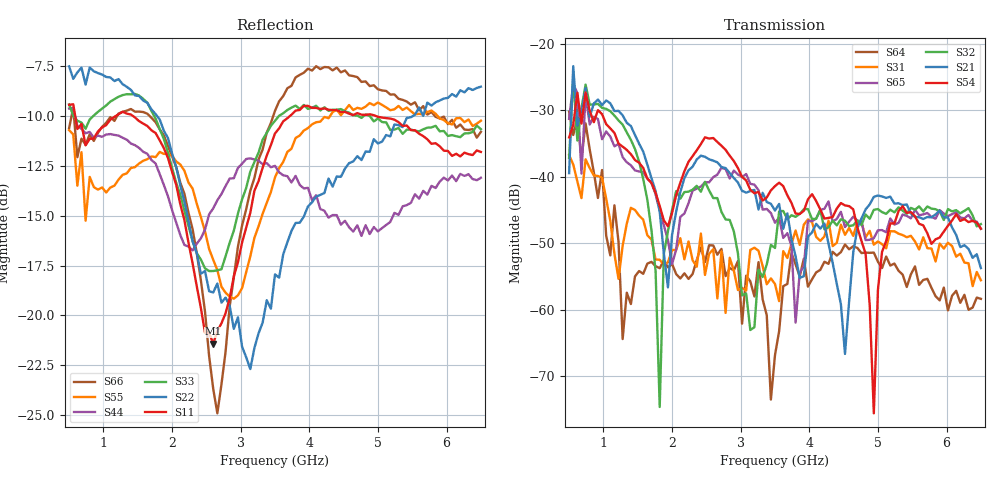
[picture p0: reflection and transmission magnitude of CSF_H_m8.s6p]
!Keysight Technologies,M9804A,MY58100912,A.14.10.03
!Date: Thursday, April 27, 2023 10:28:33
!Correction: S11(C  6-Port  )
!S12(C  6-Port  )
!S13(C  6-Port  )
!S14(C  6-Port  )
!S15(C  6-Port  )
!S16(C  6-Port  )
!S21(C  6-Port  )
!S22(C  6-Port  )
!S23(C  6-Port  )
!S24(C  6-Port  )
!S25(C  6-Port  )
!S26(C  6-Port  )
!S31(C  6-Port  )
!S32(C  6-Port  )
!S33(C  6-Port  )
!S34(C  6-Port  )
!S35(C  6-Port  )
!S36(C  6-Port  )
!S41(C  6-Port  )
!S42(C  6-Port  )
!S43(C  6-Port  )
!S44(C  6-Port  )
!S45(C  6-Port  )
!S46(C  6-Port  )
!S51(C  6-Port  )
!S52(C  6-Port  )
!S53(C  6-Port  )
!S54(C  6-Port  )
!S55(C  6-Port  )
!S56(C  6-Port  )
!S61(C  6-Port  )
!S62(C  6-Port  )
!S63(C  6-Port  )
!S64(C  6-Port  )
!S65(C  6-Port  )
!S66(C  6-Port  )
!S6P File: Measurement: :
# Hz S  RI  R 50
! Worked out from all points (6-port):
!   101 points, 500 MHz to 6.5 GHz, reference 50 ohm
!   strongest paths, dB at 500 MHz, 2 GHz, 3.5 GHz, 5 GHz, 6.5 GHz:
!     S54: -34.1, -45.4, -41.4, -56.9, -47.8
!     S21: -39.4, -48.7, -45.1, -42.8, -53.7
!     S32: -37.2, -45.0, -50.7, -44.8, -47.1
!     S65: -31.3, -53.1, -46.9, -48.0, -47.8
!     S31: -36.7, -51.0, -56.1, -49.7, -55.5
!     S64: -30.2, -53.1, -66.8, -52.8, -58.3
!   lowest |S11| = -21.4 dB at 2.6 GHz (marker M1), VSWR 1.19, Z = 42.5 + j2.18 ohm
!   |S11| at or under -10 dB: 589 MHz to 1.174 GHz (585.3 MHz wide, 66.4 % of centre); 1.434 GHz to 3.715 GHz (2.28 GHz wide, 88.6 % of centre); 4.977 GHz to end of sweep
